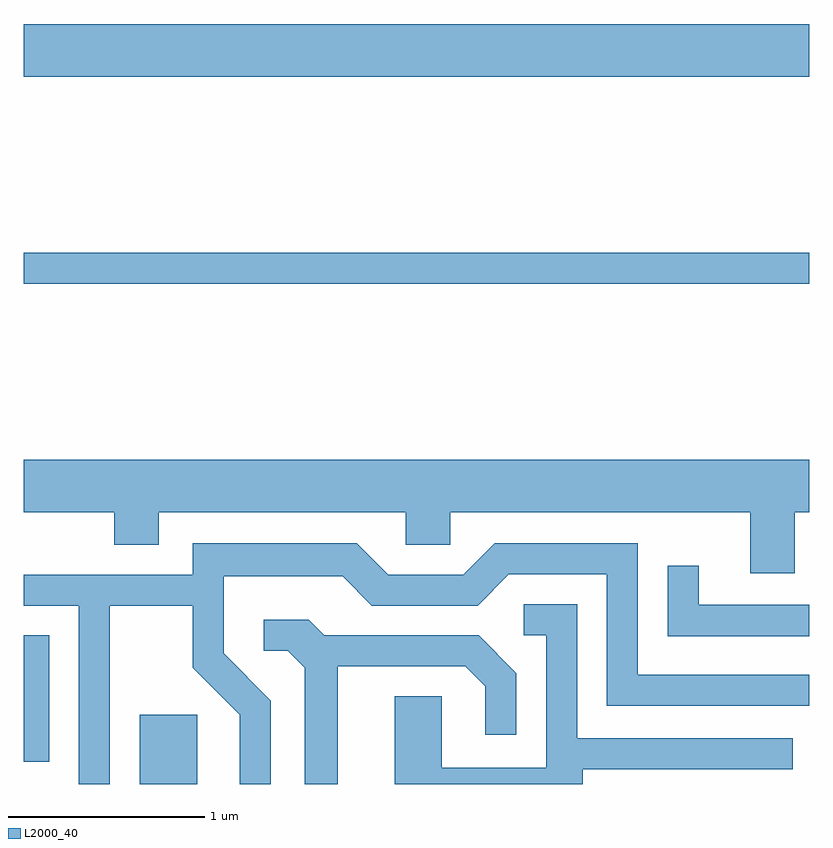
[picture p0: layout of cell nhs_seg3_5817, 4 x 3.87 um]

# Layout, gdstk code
import gdstk
lib = gdstk.Library(unit=1e-6, precision=1e-09)
def R(c, l, rs):  # rectangles x0, y0, x1, y1
    for r in rs: c.add(gdstk.rectangle(r[:2], r[2:], *l))
def P(c, l, *ps):  # polygons
    for p in ps: c.add(gdstk.Polygon(p, *l))
L2000_40 = (2000, 40)

nhs_seg3_5817 = lib.new_cell('nhs_seg3_5817')
R(nhs_seg3_5817, L2000_40, [(356.201,1197.892,356.494,1198.244), (355.611,1198.006,355.739,1198.649), (355.611,1200.441,359.611,1200.599), (355.611,1201.496,359.611,1201.764)])
P(nhs_seg3_5817, L2000_40, [(359.539,1199.276),(359.611,1199.276),(359.611,1199.544),(355.611,1199.544),(355.611,1199.276),(356.071,1199.276),(356.071,1199.111),(356.299,1199.111),(356.299,1199.276),(357.556,1199.276),(357.556,1199.111),(357.784,1199.111),(357.784,1199.276),(359.311,1199.276),(359.311,1198.966),(359.539,1198.966)],
  [(356.049,1198.801),(356.471,1198.801),(356.471,1198.484),(356.711,1198.244),(356.711,1197.892),(356.869,1197.892),(356.869,1198.317),(356.629,1198.557),(356.629,1198.951),(357.234,1198.951),(357.384,1198.801),(357.922,1198.801),(358.082,1198.961),(358.581,1198.961),(358.581,1198.291),(359.611,1198.291),(359.611,1198.449),(358.739,1198.449),(358.739,1199.119),(358.009,1199.119),(357.849,1198.959),(357.467,1198.959),(357.307,1199.119),(356.471,1199.119),(356.471,1198.959),(355.611,1198.959),(355.611,1198.801),(355.891,1198.801),(355.891,1197.892),(356.049,1197.892)],
  [(359.611,1198.804),(359.049,1198.804),(359.049,1199.003),(358.891,1199.003),(358.891,1198.646),(359.611,1198.646)],
  [(358.459,1197.966),(359.528,1197.966),(359.528,1198.124),(358.429,1198.124),(358.429,1198.809),(358.158,1198.809),(358.158,1198.651),(358.271,1198.651),(358.271,1197.974),(357.739,1197.974),(357.739,1198.339),(357.501,1198.339),(357.501,1197.892),(358.459,1197.892)],
  [(357.209,1198.491),(357.859,1198.491),(357.961,1198.389),(357.961,1198.143),(358.119,1198.143),(358.119,1198.457),(357.927,1198.649),(357.142,1198.649),(357.062,1198.729),(356.833,1198.729),(356.833,1198.571),(356.954,1198.571),(357.041,1198.484),(357.041,1197.892),(357.209,1197.892)])

lib.write_gds('nhs_seg3_5817.gds')
